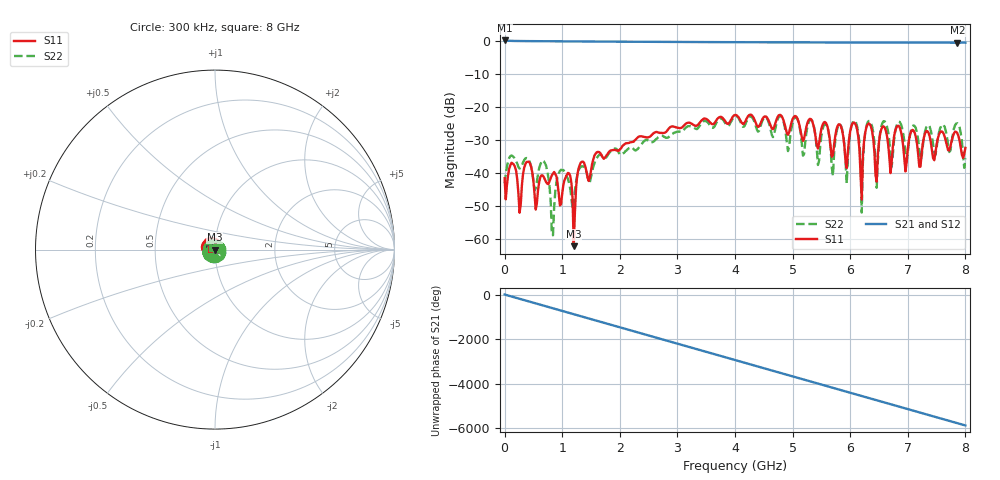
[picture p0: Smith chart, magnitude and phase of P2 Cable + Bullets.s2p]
#  HZ  S  DB  R  50.00
! Rohde & Schwarz Vector Network Analyzer
! Rohde-Schwarz,ZNB8-4Port,1311601044101761,1.95
! Created: UTC 2/26/2014, 9:20:15 AM
! freq[Hz]  db:S11  ang:S11  db:S21  ang:S21  db:S12  ang:S12  db:S22  ang:S22
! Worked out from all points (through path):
!   401 points, 300 kHz to 8 GHz, reference 50 ohm
!   highest |S21| = 0.02 dB at 300 kHz (marker M1); lowest = -0.7 dB at 7.86 GHz (marker M2)
!   group delay of S21, straight-line fit = 2.04 ns
!   lowest |S11| = -62.3 dB at 1.2 GHz (marker M3), VSWR 1.00, Z = 49.9 + j0.0212 ohm
!   |S11| at or under -10 dB: start of sweep to end of sweep
!   |S22| runs from -59.0 to -22.8 dB; largest |S21 - S12| = 0.0044
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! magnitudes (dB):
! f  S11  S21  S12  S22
! 300 kHz  -41.7  0.0  0.0  -43.3
! 680.3 MHz  -41.3  -0.2  -0.2  -36.5
! 840.3 MHz  -40.3  -0.2  -0.2  -59.0
! 940.3 MHz  -46.3  -0.2  -0.2  -40.3
! 1.1 GHz  -40.1  -0.3  -0.3  -41.9
! 1.2 GHz  -62.3  -0.3  -0.3  -50.5
! 1.34 GHz  -36.7  -0.3  -0.3  -38.0
! 2.68 GHz  -27.9  -0.4  -0.4  -29.2
! 4 GHz  -22.5  -0.5  -0.5  -23.0
! 5.34 GHz  -24.4  -0.6  -0.6  -24.3
! 5.7 GHz  -34.7  -0.6  -0.6  -40.9
! 5.94 GHz  -38.6  -0.6  -0.6  -43.2
! 6.06 GHz  -24.8  -0.6  -0.6  -24.3
! 6.2 GHz  -48.2  -0.6  -0.6  -52.1
! 6.32 GHz  -25.1  -0.6  -0.6  -24.4
! 6.46 GHz  -42.7  -0.6  -0.6  -44.6
! 6.58 GHz  -26.0  -0.6  -0.6  -24.4
! 6.68 GHz  -35.4  -0.6  -0.6  -30.5
! 6.82 GHz  -25.8  -0.6  -0.6  -25.0
! 6.96 GHz  -39.6  -0.6  -0.6  -33.9
! 7.86 GHz  -28.0  -0.7  -0.6  -25.1
! 8 GHz  -32.5  -0.6  -0.6  -35.7
